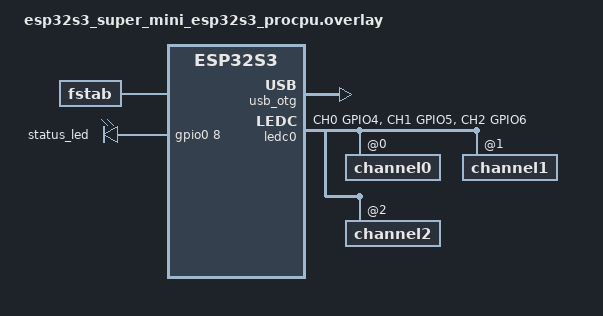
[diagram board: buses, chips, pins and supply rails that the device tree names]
// ESP32-S3 Super Mini Board Overlay for AkiraOS
// ESP32-S3 Mini N4R2: 4MB Flash, 2MB PSRAM (Quad SPI)
// This overlay extends the base board definition with AkiraOS-specific config

#include <zephyr/dt-bindings/gpio/gpio.h>
#include <zephyr/dt-bindings/spi/spi.h>
#include <zephyr/dt-bindings/pwm/pwm.h>


// Enable USB OTG for device mode (CDC ACM console)
&usb_otg {
    status = "okay";
};

// -----------------------------------------------------------------------------
// LEDC PWM — RGB controller on GPIO4 (R), GPIO5 (G), GPIO6 (B).
// Channel index maps directly to pwm_set() channel:
//   channel0 -> GPIO4 (R), channel1 -> GPIO5 (G), channel2 -> GPIO6 (B).
// The akira PWM native API resolves the controller by nodelabel "ledc0".
// -----------------------------------------------------------------------------
&pinctrl {
    ledc0_default: ledc0_default {
        group1 {
            pinmux = <LEDC_CH0_GPIO4>, <LEDC_CH1_GPIO5>, <LEDC_CH2_GPIO6>;
            output-enable;
        };
    };
};

&ledc0 {
    pinctrl-0 = <&ledc0_default>;
    pinctrl-names = "default";
    status = "okay";
    #address-cells = <1>;
    #size-cells = <0>;

    channel0@0 {
        reg = <0x0>;
        timer = <0>;
    };
    channel1@1 {
        reg = <0x1>;
        timer = <0>;
    };
    channel2@2 {
        reg = <0x2>;
        timer = <0>;
    };
};

/ {
    fstab {
        compatible = "zephyr,fstab";

        lfs1: lfs1 {
            compatible = "zephyr,fstab,littlefs";
            read-size = <1>;
            prog-size = <16>;
            cache-size = <256>;
            lookahead-size = <32>;
            block-cycles = <512>;
            partition = <&lfs1_partition>;
            mount-point = "/lfs";
        };
    };
};

// Flash memory partitions (4MB flash)
&flash0 {
    partitions {
        akira_settings_nvs_partition: partition@256000 {
            label = "akira_settings_nvs";
            reg = <0x00256000 DT_SIZE_K(32)>;
        };

        lfs1_partition: partition@25E000 {
            label = "akira_storage";
            reg = <0x0025E000 DT_SIZE_K(256)>;
        };
    };
};



/ {
    aliases {
        led0 = &status_led;
    };

    leds {
        compatible = "gpio-leds";
        status_led: led_0 {
            gpios = <&gpio0 8 GPIO_ACTIVE_HIGH>;
        };
    };
};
